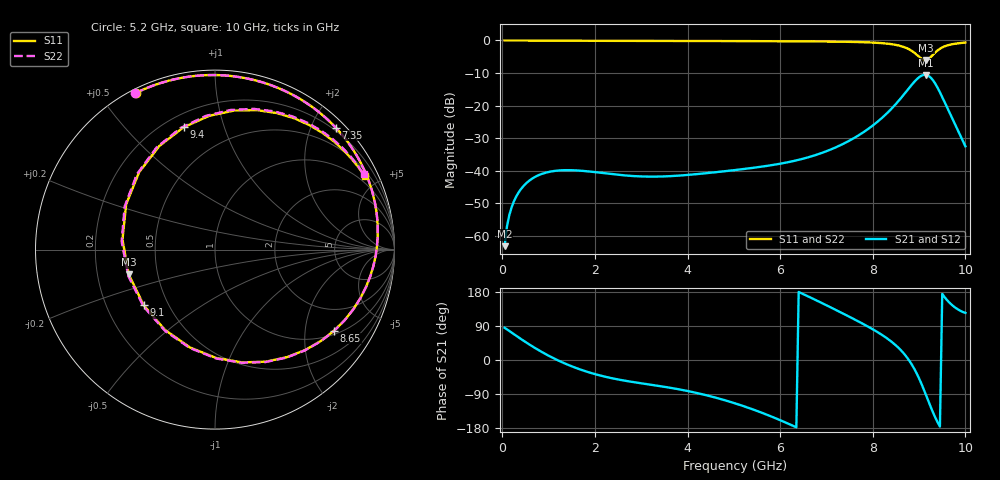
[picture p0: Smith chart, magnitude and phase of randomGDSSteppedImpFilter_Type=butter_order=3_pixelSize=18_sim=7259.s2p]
! freq	dB(S11)	phase(S11)	dB(S12)	phase(S12)
!  dB(S21)	phase(S21)	dB(S22)	phase(S22)
!S-par simulation data
#  GHz  S  DB  R 50
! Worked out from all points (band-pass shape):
!   200 points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, 50 MHz to 10 GHz, reference 50 ohm
!   highest |S21| = -10.55 dB at 9.15 GHz (marker M1); lowest = -63.1 dB at 50 MHz (marker M2)
!   |S21| within 3 dB of the highest: 8.845 GHz to 9.361 GHz (516.3 MHz wide, 5.67 % of centre)
!   lowest |S11| = -6.0 dB at 9.15 GHz (marker M3), VSWR 3.00, Z = 17 - j6.25 ohm
!   |S11| at or under -10 dB: nowhere
!   |S22| runs from -5.9 to 0.0 dB; largest |S21 - S12| = 0
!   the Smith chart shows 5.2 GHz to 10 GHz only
!   S11 on the Smith chart (normalised r, x): 5.2 GHz: 0.02, +0.61; 7.35 GHz: 0.15, +2.39; 8.65 GHz: 1.12, -2.85; 9.1 GHz: 0.36, -0.30; 9.4 GHz: 0.27, +0.74; 10 GHz: 0.70, +4.20
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0.05  -0.00 -4.4  -63.10 85.0  -63.10 85.0  -0.00 -4.4
0.1  -0.00 -8.8  -57.13 80.9  -57.13 80.9  -0.01 -8.8
0.2  -0.02 -17.4  -51.22 72.5  -51.22 72.5  -0.02 -17.5
0.5  -0.06 -42.6  -44.03 47.6  -44.03 47.6  -0.06 -42.6
1.05  -0.09 -83.2  -40.19 8.2  -40.19 8.2  -0.09 -83.2
1.75  -0.11 -123.4  -40.02 -27.8  -40.02 -27.8  -0.11 -123.4
2.5  -0.12 -156.2  -41.20 -51.4  -41.20 -51.4  -0.12 -156.2
3.4  -0.14 172.1  -41.75 -68.8  -41.75 -68.8  -0.14 172.1
5.05  -0.19 121.4  -39.71 -115.3  -39.71 -115.3  -0.19 121.5
5.2  -0.20 116.9  -39.46 -121.4  -39.46 -121.4  -0.20 116.9
6.7  -0.29 69.1  -35.44 162.3  -35.44 162.3  -0.29 69.1
7.35  -0.39 45.3  -31.80 123.1  -31.80 123.1  -0.39 45.2
8.35  -1.04 -5.8  -21.73 53.4  -21.73 53.4  -1.04 -6.0
8.65  -1.91 -34.2  -16.97 20.1  -16.97 20.1  -1.91 -34.5
8.9  -3.80 -76.6  -12.65 -24.1  -12.65 -24.1  -3.77 -76.8
9.1  -5.95 -142.0  -10.56 -77.2  -10.56 -77.2  -5.87 -141.4
9.15  -6.02 -163.9  -10.55 -92.5  -10.55 -92.5  -5.94 -163.0
9.25  -5.10 153.0  -11.37 -123.5  -11.37 -123.5  -5.07 154.5
9.4  -3.05 104.3  -14.52 -164.5  -14.52 -164.5  -3.05 105.9
9.55  -1.82 73.3  -18.87 166.0  -18.87 166.0  -1.80 74.7
9.7  -1.20 52.6  -23.40 146.2  -23.40 146.2  -1.16 53.7
10  -0.64 26.1  -32.47 124.2  -32.47 124.2  -0.64 26.8
